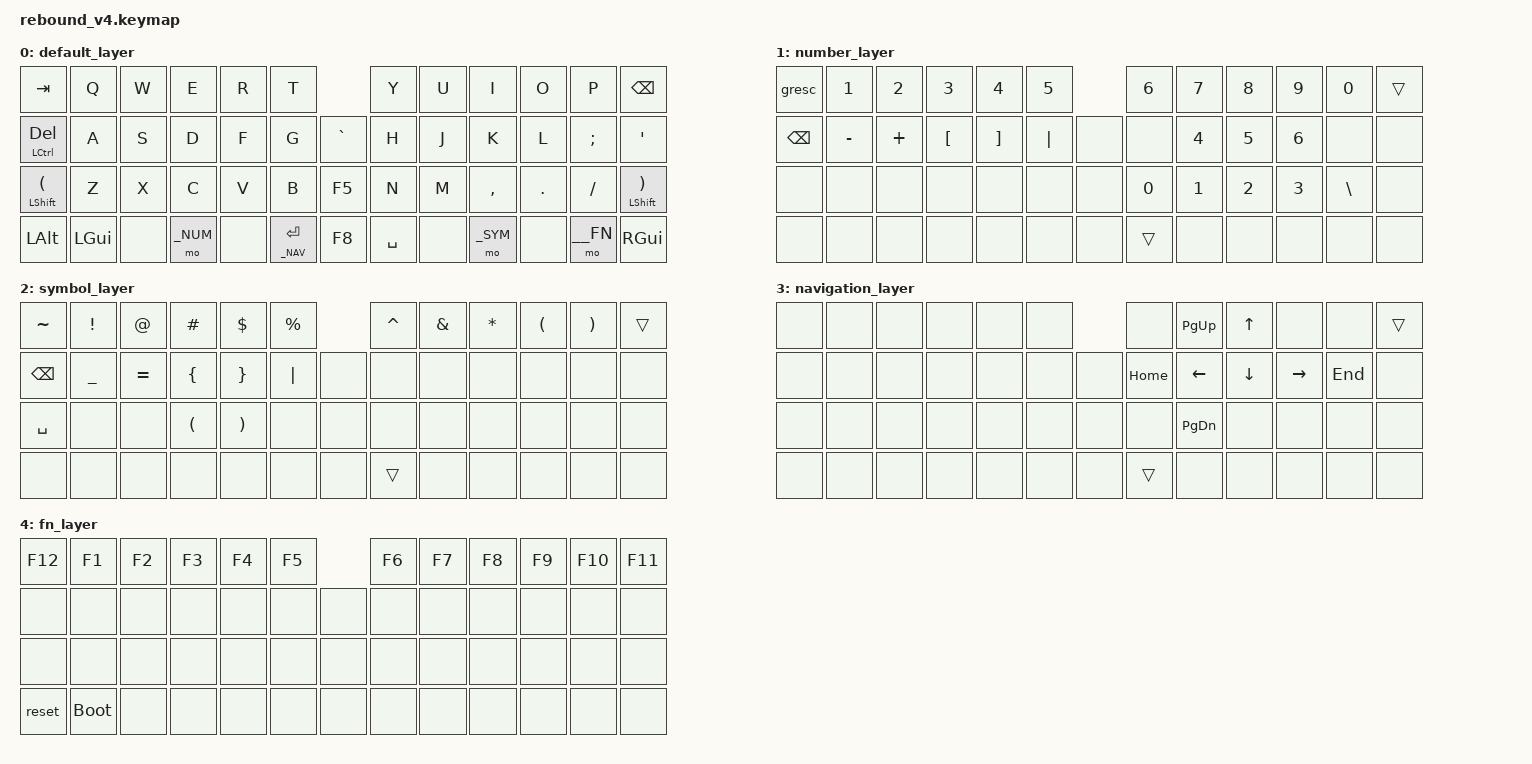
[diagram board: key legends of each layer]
/*
 * Copyright (c) 2020 The ZMK Contributors
 *
 * SPDX-License-Identifier: MIT
 */

#include <behaviors.dtsi>
#include <dt-bindings/zmk/keys.h>
#include <dt-bindings/zmk/bt.h>
#include <dt-bindings/zmk/modifiers.h>
#include <dt-bindings/zmk/outputs.h>

#define _DEF 0
#define _NUM 1
#define _SYM 2
#define _NAV 3
#define __FN 4

/ {
    keymap {
        compatible = "zmk,keymap";
        default_layer {                      					  
                bindings = <
                        // ----------------------------------------------------------------------------------------------------------------------
                        // |  -------   -----   -----   -----   -----   -----                  -----   -----   -----   -----   -----   -------  |
                        // | |  TAB  | |  Q  | |  W  | |  E  | |  R  | |  T  |                |  Y  | |  U  | |  I  | |  O  | |  P  | |  BCK  | |
                        // |  -------   -----   -----   -----   -----   -----                  -----   -----   -----   -----   -----   -------  |
                        // |  -------   -----   -----   -----   -----   -----       ----       -----   -----   -----   -----   -----   -------  |
                        // | |CTRLDEL| |  A  | |  S  | |  D  | |  F  | |  G  |     | `  |     |  H  | |  J  | |  K  | |  L  | |  :  | |   '   | |
                        // |  -------   -----   -----   -----   -----   -----       ----       -----   -----   -----   -----   -----   -------  |
                        // |  -------   -----   -----   -----   -----   -----       ----       -----   -----   -----   -----   -----   -------  |
                        // | |  SFT  | |  Z  | |  X  | |  C  | |  V  | |  B  |     | F5 |     |  N  | |  M  | |  ,  | |  .  | |  /  | | SFT ) | |
                        // |  -------   -----   -----   -----   -----   -----       ----       -----   -----   -----   -----   -----   -------  |
                        // |  -------   ---------   ---------   -------------       ----       -------------   ---------   ---------   -------  |
                        // | |  ALT  | | GUI     | |    _NUM | |    _NAV ENT |     | F8 |     | SPC         | | _SYM    | |         | |  GUI  | |
                        // |  -------   ---------   ---------   -------------       ----       -------------   ---------   ---------   -------  |
                        // ----------------------------------------------------------------------------------------------------------------------
                        &kp TAB         &kp Q     &kp W  &kp E     &kp R  &kp T                           &kp Y      &kp U  &kp I      &kp O    &kp P     &kp BACKSPACE
                        &mt LCTRL DEL   &kp A     &kp S  &kp D     &kp F  &kp G              &kp GRAVE    &kp H      &kp J  &kp K      &kp L    &kp SEMI  &kp APOSTROPHE
                        &mt LSHFT LPAR  &kp Z     &kp X  &kp C     &kp V  &kp B              &kp F5       &kp N      &kp M  &kp COMMA  &kp DOT  &kp FSLH  &mt LSHFT RPAR  
                        &kp LALT        &kp LGUI  &none  &mo _NUM  &none  &lt _NAV ENTER     &kp F8       &kp SPACE  &none  &mo _SYM   &none    &mo __FN  &kp RGUI   
                >;
        };

        number_layer {
		bindings = < 
                        // ----------------------------------------------------------------------------------------------------------------------
                        // |  -------   -----   -----   -----   -----   -----                  -----   -----   -----   -----   -----   -------  |
                        // | | ESC ` | |  1  | |  2  | |  3  | |  4  | |  5  |                |  6  | |  7  | |  8  | |  9  | |  0  | |  BCK  | |
                        // |  -------   -----   -----   -----   -----   -----                  -----   -----   -----   -----   -----   -------  |
                        // |  -------   -----   -----   -----   -----   -----       ----       -----   -----   -----   -----   -----   -------  |
                        // | |  BCK  | |  -  | |  +  | |  [  | |  ]  | |  |  |     |    |     |     | |  4  | |  5  | |  6  | |     | |       | |
                        // |  -------   -----   -----   -----   -----   -----       ----       -----   -----   -----   -----   -----   -------  |
                        // |  -------   -----   -----   -----   -----   -----       ----       -----   -----   -----   -----   -----   -------  |
                        // | |       | |     | |     | |    | |      | |     |     |    |     |  0  | |  1  | |  2  | |  3  | |  \  | |       | |
                        // |  -------   -----   -----   -----   -----   -----       ----       -----   -----   -----   -----   -----   -------  |
                        // |  -------   ---------   ---------   -------------       ----       -------------   ---------   ---------   -------  |
                        // | |       | |         | |         | |             |     |    |     | SPC         | |         | |         | |       | |
                        // |  -------   ---------   ---------   -------------       ----       -------------   ---------   ---------   -------  |
                        // ----------------------------------------------------------------------------------------------------------------------

                        &gresc          &kp N1      &kp N2     &kp N3     &kp N4     &kp N5               &kp N6   &kp N7   &kp N8   &kp N9   &kp N0    &trans
                        &kp BACKSPACE   &kp MINUS   &kp PLUS   &kp LBKT   &kp RBKT   &kp PIPE    &none    &none    &kp N4   &kp N5   &kp N6   &none     &none
                        &none           &none       &none      &none      &none      &none       &none    &kp N0   &kp N1   &kp N2   &kp N3   &kp BSLH  &none      
                        &none           &none       &none      &none      &none      &none       &none    &trans   &none    &none    &none    &none     &none          
                >;
        };

        symbol_layer {
		bindings = < 
                        // ----------------------------------------------------------------------------------------------------------------------
                        // |  -------   -----   -----   -----   -----   -----                  -----   -----   -----   -----   -----   -------  |
                        // | |   ~   | |  !  | |  @  | |  #  | |  #  | |  $  |                |  ^  | |  &  | |  *  | |  (  | |  )  | |  BCK  | |
                        // |  -------   -----   -----   -----   -----   -----                  -----   -----   -----   -----   -----   -------  |
                        // |  -------   -----   -----   -----   -----   -----       ----       -----   -----   -----   -----   -----   -------  |
                        // | |  BCK  | |  _  | |  =  | |  {  | |  }  | |  |  |     |    |     |     | |     | |     | |     | |     | |       | |
                        // |  -------   -----   -----   -----   -----   -----       ----       -----   -----   -----   -----   -----   -------  |
                        // |  -------   -----   -----   -----   -----   -----       ----       -----   -----   -----   -----   -----   -------  |
                        // | |  SPC  | |     | |     | |  ( | |   )  | |     |     |    |     |     | |     | |     | |     | |     | |       | |
                        // |  -------   -----   -----   -----   -----   -----       ----       -----   -----   -----   -----   -----   -------  |
                        // |  -------   ---------   ---------   -------------       ----       -------------   ---------   ---------   -------  |
                        // | |       | |         | |         | |             |     |    |     | SPC         | |         | |         | |       | |
                        // |  -------   ---------   ---------   -------------       ----       -------------   ---------   ---------   -------  |
                        // ----------------------------------------------------------------------------------------------------------------------
                        &kp TILDE       &kp EXCL    &kp AT      &kp HASH   &kp DLLR   &kp PRCNT               &kp CARET   &kp AMPS   &kp STAR   &kp LPAR   &kp RPAR   &trans
                        &kp BACKSPACE   &kp UNDER   &kp EQUAL   &kp LBRC   &kp RBRC   &kp PIPE       &none    &none       &none      &none      &none      &none      &none
                        &kp SPACE       &none       &none       &kp LPAR   &kp RPAR   &none          &none    &none       &none      &none      &none      &none      &none      
                        &none           &none       &none       &none      &none      &none          &none    &trans       &none      &none      &none      &none      &none          
                >;
        };

        navigation_layer {
		bindings = < 
                        // ----------------------------------------------------------------------------------------------------------------------
                        // |  -------   -----   -----   -----   -----   -----                  -----   -----   -----   -----   -----   -------  |
                        // | |       | |     | |     | |     | |     | |     |                |     | |PG_UP| | UP  | |     | |     | |  BCK  | |
                        // |  -------   -----   -----   -----   -----   -----                  -----   -----   -----   -----   -----   -------  |
                        // |  -------   -----   -----   -----   -----   -----       ----       -----   -----   -----   -----   -----   -------  |
                        // | |       | |     | |     | |     | |     | |     |     |    |     |HOME | |LEFT | |DOWN | |RIGHT| | END | |       | |
                        // |  -------   -----   -----   -----   -----   -----       ----       -----   -----   -----   -----   -----   -------  |
                        // |  -------   -----   -----   -----   -----   -----       ----       -----   -----   -----   -----   -----   -------  |
                        // | |       | |     | |     | |    | |      | |     |     |    |     |     | |PG_DN| |     | |     | |     | |       | |
                        // |  -------   -----   -----   -----   -----   -----       ----       -----   -----   -----   -----   -----   -------  |
                        // |  -------   ---------   ---------   -------------       ----       -------------   ---------   ---------   -------  |
                        // | |       | |         | |         | |             |     |    |     | SPC         | |         | |         | |       | |
                        // |  -------   ---------   ---------   -------------       ----       -------------   ---------   ---------   -------  |
                        // ----------------------------------------------------------------------------------------------------------------------
                        &none   &none   &none   &none   &none   &none             &none      &kp PG_UP   &kp UP     &none       &none     &trans
                        &none   &none   &none   &none   &none   &none    &none    &kp HOME   &kp LEFT    &kp DOWN   &kp RIGHT   &kp END   &none
                        &none   &none   &none   &none   &none   &none    &none    &none      &kp PG_DN   &none      &none       &none     &none
                        &none   &none   &none   &none   &none   &none    &none    &trans     &none       &none      &none       &none     &none
                >;
        };

        fn_layer {
		bindings = < 
                        /// ----------------------------------------------------------------------------------------------------------------------
                        // |  -------   -----   -----   -----   -----   -----                  -----   -----   -----   -----   -----   -------  |
                        // | |  F12  | | F1  | | F2  | | F3  | | F4  | | F5  |                | F6  | | F7  | | F8  | | F9  | | F10 | |  F11  | |
                        // |  -------   -----   -----   -----   -----   -----                  -----   -----   -----   -----   -----   -------  |
                        // |  -------   -----   -----   -----   -----   -----       ----       -----   -----   -----   -----   -----   -------  |
                        // | |       | |     | |     | |     | |     | |     |     |    |     |     | |     | |     | |     | |     | |       | |
                        // |  -------   -----   -----   -----   -----   -----       ----       -----   -----   -----   -----   -----   -------  |
                        // |  -------   -----   -----   -----   -----   -----       ----       -----   -----   -----   -----   -----   -------  |
                        // | |       | |     | |     | |    | |      | |     |     |    |     |     | |     | |     | |     | |     | |       | |
                        // |  -------   -----   -----   -----   -----   -----       ----       -----   -----   -----   -----   -----   -------  |
                        // |  -------   ---------   ---------   -------------       ----       -------------   ---------   ---------   -------  |
                        // | | RESET | |BOOTLOADR| |         | |             |     |    |     |             | |         | |         | |       | |
                        // |  -------   ---------   ---------   -------------       ----       -------------   ---------   ---------   -------  |
                        // ----------------------------------------------------------------------------------------------------------------------
                        &kp F12   &kp F1         &kp F2   &kp F3   &kp F4   &kp F5           &kp F6   &kp F7   &kp F8   &kp F9   &kp F10   &kp F11 
                        &none     &none          &none    &none    &none    &none    &none   &none    &none    &none    &none    &none     &none
                        &none     &none          &none    &none    &none    &none    &none   &none    &none    &none    &none    &none     &none
                        &reset    &bootloader    &none    &none    &none    &none    &none   &none    &none    &none    &none    &none     &none
                >;
        };
    };
};
